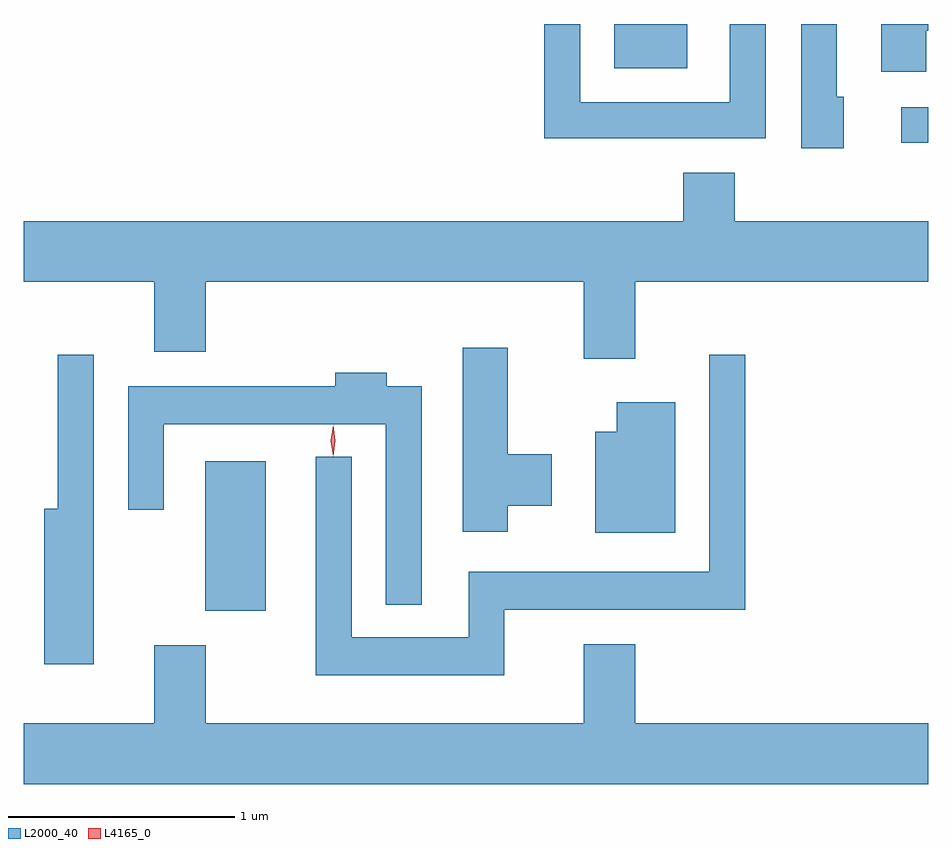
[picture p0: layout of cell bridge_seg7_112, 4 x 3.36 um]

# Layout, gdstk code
import gdstk
lib = gdstk.Library(unit=1e-6, precision=1e-09)
def R(c, l, rs):  # rectangles x0, y0, x1, y1
    for r in rs: c.add(gdstk.rectangle(r[:2], r[2:], *l))
def P(c, l, *ps):  # polygons
    for p in ps: c.add(gdstk.Polygon(p, *l))
L2000_40 = (2000, 40)
L4165_0 = (4165, 0)

bridge_seg7_112 = lib.new_cell('bridge_seg7_112')
R(bridge_seg7_112, L2000_40, [(1508.046,1768.361,1508.314,1769.024), (1511.123,1770.431,1511.244,1770.589), (1509.856,1770.761,1510.179,1770.956)])
P(bridge_seg7_112, L2000_40, [(1510.524,1770.956),(1510.366,1770.956),(1510.366,1770.609),(1509.704,1770.609),(1509.704,1770.956),(1509.546,1770.956),(1509.546,1770.451),(1510.524,1770.451)],
  [(1511.234,1770.926),(1511.244,1770.926),(1511.244,1770.956),(1511.036,1770.956),(1511.036,1770.746),(1511.234,1770.746)],
  [(1510.869,1770.634),(1510.839,1770.634),(1510.839,1770.956),(1510.681,1770.956),(1510.681,1770.406),(1510.869,1770.406)],
  [(1509.949,1769.816),(1511.244,1769.816),(1511.244,1770.084),(1510.389,1770.084),(1510.389,1770.299),(1510.161,1770.299),(1510.161,1770.084),(1507.244,1770.084),(1507.244,1769.816),(1507.821,1769.816),(1507.821,1769.506),(1508.049,1769.506),(1508.049,1769.816),(1509.721,1769.816),(1509.721,1769.476),(1509.949,1769.476)],
  [(1509.384,1768.826),(1509.579,1768.826),(1509.579,1769.054),(1509.384,1769.054),(1509.384,1769.524),(1509.186,1769.524),(1509.186,1768.711),(1509.384,1768.711)],
  [(1509.369,1768.366),(1510.434,1768.366),(1510.434,1769.493),(1510.276,1769.493),(1510.276,1768.534),(1509.211,1768.534),(1509.211,1768.244),(1508.694,1768.244),(1508.694,1769.043),(1508.536,1769.043),(1508.536,1768.076),(1509.369,1768.076)],
  [(1507.554,1769.493),(1507.396,1769.493),(1507.396,1768.814),(1507.336,1768.814),(1507.336,1768.126),(1507.554,1768.126)],
  [(1509.004,1769.354),(1508.849,1769.354),(1508.849,1769.414),(1508.621,1769.414),(1508.621,1769.354),(1507.706,1769.354),(1507.706,1768.808),(1507.864,1768.808),(1507.864,1769.186),(1508.846,1769.186),(1508.846,1768.388),(1509.004,1768.388)],
  [(1510.124,1769.284),(1509.866,1769.284),(1509.866,1769.154),(1509.771,1769.154),(1509.771,1768.706),(1510.124,1768.706)],
  [(1511.244,1767.864),(1509.949,1767.864),(1509.949,1768.214),(1509.721,1768.214),(1509.721,1767.864),(1508.049,1767.864),(1508.049,1768.209),(1507.821,1768.209),(1507.821,1767.864),(1507.244,1767.864),(1507.244,1767.596),(1511.244,1767.596)])
P(bridge_seg7_112, L4165_0, [(1508.612,1769.043),(1508.612,1769.044),(1508.602,1769.113),(1508.612,1769.182),(1508.612,1769.183),(1508.613,1769.182),(1508.622,1769.113),(1508.613,1769.044)])

lib.write_gds('bridge_seg7_112.gds')
